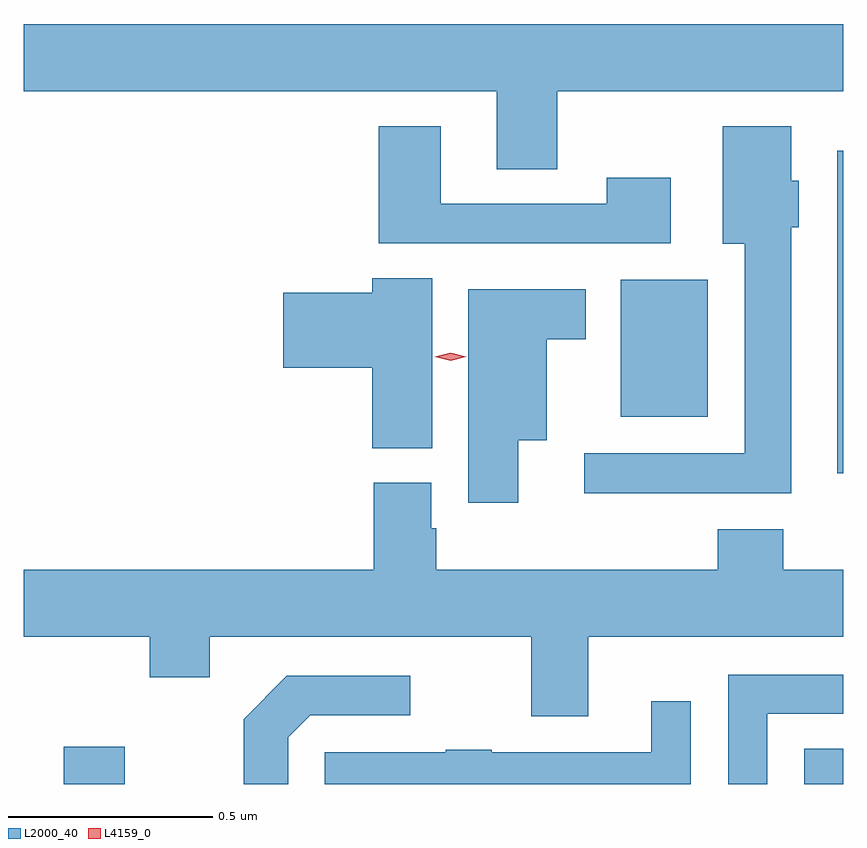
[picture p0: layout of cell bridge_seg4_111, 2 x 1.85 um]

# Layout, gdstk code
import gdstk
lib = gdstk.Library(unit=1e-6, precision=1e-09)
def R(c, l, rs):  # rectangles x0, y0, x1, y1
    for r in rs: c.add(gdstk.rectangle(r[:2], r[2:], *l))
def P(c, l, *ps):  # polygons
    for p in ps: c.add(gdstk.Polygon(p, *l))
L2000_40 = (2000, 40)
L4159_0 = (4159, 0)

bridge_seg4_111 = lib.new_cell('bridge_seg4_111')
R(bridge_seg4_111, L2000_40, [(542.885,751.173,543.034,751.264), (544.692,751.173,544.787,751.259), (544.772,751.932,544.787,752.719), (544.244,752.069,544.456,752.404)])
P(bridge_seg4_111, L2000_40, [(544.089,752.864),(544.787,752.864),(544.787,753.028),(542.787,753.028),(542.787,752.864),(543.941,752.864),(543.941,752.674),(544.089,752.674)],
  [(544.66,752.532),(544.678,752.532),(544.678,752.646),(544.66,752.646),(544.66,752.779),(544.493,752.779),(544.493,752.492),(544.547,752.492),(544.547,751.98),(544.155,751.98),(544.155,751.883),(544.66,751.883)],
  [(544.366,752.653),(544.21,752.653),(544.21,752.589),(543.805,752.589),(543.805,752.779),(543.653,752.779),(543.653,752.493),(544.366,752.493)],
  [(543.784,752.408),(543.638,752.408),(543.638,752.372),(543.42,752.372),(543.42,752.189),(543.638,752.189),(543.638,751.993),(543.784,751.993)],
  [(543.994,752.012),(544.063,752.012),(544.063,752.258),(544.159,752.258),(544.159,752.38),(543.872,752.38),(543.872,751.86),(543.994,751.86)],
  [(544.165,751.532),(544.787,751.532),(544.787,751.696),(544.641,751.696),(544.641,751.795),(544.481,751.795),(544.481,751.696),(543.794,751.696),(543.794,751.797),(543.781,751.797),(543.781,751.908),(543.641,751.908),(543.641,751.696),(542.787,751.696),(542.787,751.532),(543.094,751.532),(543.094,751.433),(543.241,751.433),(543.241,751.532),(544.025,751.532),(544.025,751.338),(544.165,751.338)],
  [(544.602,751.344),(544.787,751.344),(544.787,751.44),(544.506,751.44),(544.506,751.173),(544.602,751.173)],
  [(543.432,751.287),(543.486,751.341),(543.73,751.341),(543.73,751.437),(543.429,751.437),(543.324,751.331),(543.324,751.173),(543.432,751.173)],
  [(544.415,751.375),(544.319,751.375),(544.319,751.251),(543.929,751.251),(543.929,751.256),(543.817,751.256),(543.817,751.251),(543.522,751.251),(543.522,751.173),(544.415,751.173)])
P(bridge_seg4_111, L4159_0, [(543.829,752.206),(543.79,752.216),(543.79,752.216),(543.79,752.216),(543.829,752.226),(543.867,752.216),(543.867,752.216),(543.867,752.216)])

lib.write_gds('bridge_seg4_111.gds')
